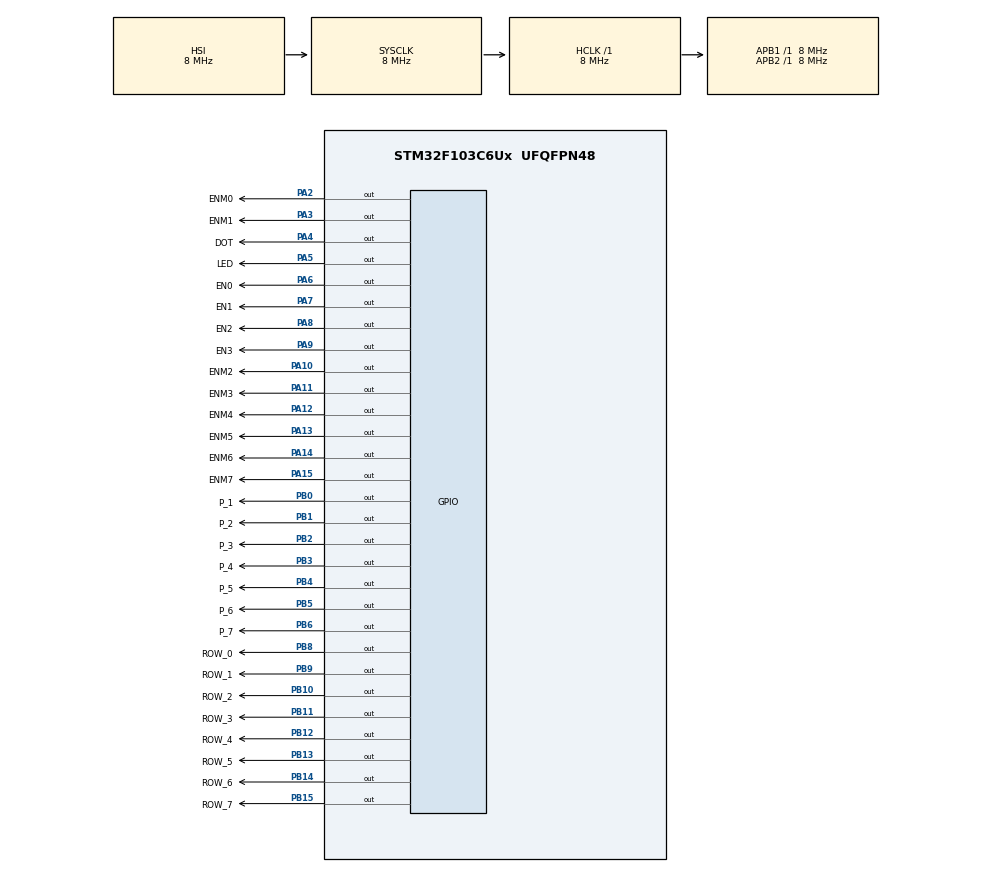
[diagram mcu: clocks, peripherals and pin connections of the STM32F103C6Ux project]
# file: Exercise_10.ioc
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Mcu.Family=STM32F1
Mcu.Name=STM32F103C6Ux
Mcu.Package=UFQFPN48
NVIC.PriorityGroup=NVIC_PRIORITYGROUP_4
NVIC.TIM2_IRQn=true\:0\:0\:false\:false\:true\:true\:true
PA10.GPIO_Label=ENM2
PA10.Signal=GPIO_Output
PA11.GPIO_Label=ENM3
PA11.Signal=GPIO_Output
PA12.GPIO_Label=ENM4
PA12.Signal=GPIO_Output
PA13.GPIO_Label=ENM5
PA13.Signal=GPIO_Output
PA14.GPIO_Label=ENM6
PA14.Signal=GPIO_Output
PA15.GPIO_Label=ENM7
PA15.Signal=GPIO_Output
PA2.GPIO_Label=ENM0
PA2.Signal=GPIO_Output
PA3.GPIO_Label=ENM1
PA3.Signal=GPIO_Output
PA4.GPIO_Label=DOT
PA4.Signal=GPIO_Output
PA5.GPIO_Label=LED
PA5.Signal=GPIO_Output
PA6.GPIO_Label=EN0
PA6.Signal=GPIO_Output
PA7.GPIO_Label=EN1
PA7.Signal=GPIO_Output
PA8.GPIO_Label=EN2
PA8.Signal=GPIO_Output
PA9.GPIO_Label=EN3
PA9.Signal=GPIO_Output
PB0.GPIO_Label=P_1
PB0.Signal=GPIO_Output
PB1.GPIO_Label=P_2
PB1.Signal=GPIO_Output
PB10.GPIO_Label=ROW_2
PB10.Signal=GPIO_Output
PB11.GPIO_Label=ROW_3
PB11.Signal=GPIO_Output
PB12.GPIO_Label=ROW_4
PB12.Signal=GPIO_Output
PB13.GPIO_Label=ROW_5
PB13.Signal=GPIO_Output
PB14.GPIO_Label=ROW_6
PB14.Signal=GPIO_Output
PB15.GPIO_Label=ROW_7
PB15.Signal=GPIO_Output
PB2.GPIO_Label=P_3
PB2.Signal=GPIO_Output
PB3.GPIO_Label=P_4
PB3.Signal=GPIO_Output
PB4.GPIO_Label=P_5
PB4.Signal=GPIO_Output
PB5.GPIO_Label=P_6
PB5.Signal=GPIO_Output
PB6.GPIO_Label=P_7
PB6.Signal=GPIO_Output
PB8.GPIO_Label=ROW_0
PB8.Signal=GPIO_Output
PB9.GPIO_Label=ROW_1
PB9.Signal=GPIO_Output
ProjectManager.HeapSize=0x200
ProjectManager.StackSize=0x400
ProjectManager.TargetToolchain=STM32CubeIDE
RCC.AHBFreq_Value=8000000
RCC.APB1Freq_Value=8000000
RCC.APB1TimFreq_Value=8000000
RCC.APB2Freq_Value=8000000
RCC.APB2TimFreq_Value=8000000
RCC.HCLKFreq_Value=8000000
RCC.SYSCLKFreq_VALUE=8000000
RCC.USBFreq_Value=8000000
TIM2.Period=9
TIM2.Prescaler=7999
VP_SYS_VS_ND.Mode=No_Debug
VP_TIM2_VS_ClockSourceINT.Mode=Internal
board=custom

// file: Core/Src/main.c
/* USER CODE BEGIN Header */
/**
  ******************************************************************************
  * @file           : main.c
  * @brief          : Main program body
  ******************************************************************************
  * @attention
  *
  * <h2><center>&copy; Copyright (c) 2022 STMicroelectronics.
  * All rights reserved.</center></h2>
  *
  * This software component is licensed by ST under BSD 3-Clause license,
  * the "License"; You may not use this file except in compliance with the
  * License. You may obtain a copy of the License at:
  *                        opensource.org/licenses/BSD-3-Clause
  *
  ******************************************************************************
  */
/* USER CODE END Header */
#include "main.h"

/* USER CODE BEGIN Includes */
#include "timer.h"
/* USER CODE END Includes */

TIM_HandleTypeDef htim2;

void SystemClock_Config(void);
static void MX_GPIO_Init(void);
static void MX_TIM2_Init(void);

/* USER CODE BEGIN 0 */
void display7SEG (int time)
{
	if(time==0)
	{
		HAL_GPIO_WritePin(P_1_GPIO_Port, P_1_Pin, RESET);
		HAL_GPIO_WritePin(P_2_GPIO_Port, P_2_Pin, RESET);
		HAL_GPIO_WritePin(P_3_GPIO_Port, P_3_Pin, RESET);
		HAL_GPIO_WritePin(P_4_GPIO_Port, P_4_Pin, RESET);
		HAL_GPIO_WritePin(P_5_GPIO_Port, P_5_Pin, RESET);
		HAL_GPIO_WritePin(P_6_GPIO_Port, P_6_Pin, RESET);
		HAL_GPIO_WritePin(P_7_GPIO_Port, P_7_Pin, SET);
	}
	else if(time==1)
	{
		HAL_GPIO_WritePin(P_1_GPIO_Port, P_1_Pin, SET);
		HAL_GPIO_WritePin(P_2_GPIO_Port, P_2_Pin, RESET);
		HAL_GPIO_WritePin(P_3_GPIO_Port, P_3_Pin, RESET);
		HAL_GPIO_WritePin(P_4_GPIO_Port, P_4_Pin, SET);
		HAL_GPIO_WritePin(P_5_GPIO_Port, P_5_Pin, SET);
		HAL_GPIO_WritePin(P_6_GPIO_Port, P_6_Pin, SET);
		HAL_GPIO_WritePin(P_7_GPIO_Port, P_7_Pin, SET);
	}
	else if(time==2)
	{
		HAL_GPIO_WritePin(P_1_GPIO_Port, P_1_Pin, RESET);
		HAL_GPIO_WritePin(P_2_GPIO_Port, P_2_Pin, RESET);
		HAL_GPIO_WritePin(P_3_GPIO_Port, P_3_Pin, SET);
		HAL_GPIO_WritePin(P_4_GPIO_Port, P_4_Pin, RESET);
		HAL_GPIO_WritePin(P_5_GPIO_Port, P_5_Pin, RESET);
		HAL_GPIO_WritePin(P_6_GPIO_Port, P_6_Pin, SET);
		HAL_GPIO_WritePin(P_7_GPIO_Port, P_7_Pin, RESET);
	}
	else if(time==3)
	{
		HAL_GPIO_WritePin(P_1_GPIO_Port, P_1_Pin, RESET);
		HAL_GPIO_WritePin(P_2_GPIO_Port, P_2_Pin, RESET);
		HAL_GPIO_WritePin(P_3_GPIO_Port, P_3_Pin, RESET);
		HAL_GPIO_WritePin(P_4_GPIO_Port, P_4_Pin, RESET);
		HAL_GPIO_WritePin(P_5_GPIO_Port, P_5_Pin, SET);
		HAL_GPIO_WritePin(P_6_GPIO_Port, P_6_Pin, SET);
		HAL_GPIO_WritePin(P_7_GPIO_Port, P_7_Pin, RESET);
	}
	else if(time==4)
	{
		HAL_GPIO_WritePin(P_1_GPIO_Port, P_1_Pin, SET);
		HAL_GPIO_WritePin(P_2_GPIO_Port, P_2_Pin, RESET);
		HAL_GPIO_WritePin(P_3_GPIO_Port, P_3_Pin, RESET);
		HAL_GPIO_WritePin(P_4_GPIO_Port, P_4_Pin, SET);
		HAL_GPIO_WritePin(P_5_GPIO_Port, P_5_Pin, SET);
		HAL_GPIO_WritePin(P_6_GPIO_Port, P_6_Pin, RESET);
		HAL_GPIO_WritePin(P_7_GPIO_Port, P_7_Pin, RESET);
	}
	else if(time==5)
	{
		HAL_GPIO_WritePin(P_1_GPIO_Port, P_1_Pin, RESET);
		HAL_GPIO_WritePin(P_2_GPIO_Port, P_2_Pin, SET);
		HAL_GPIO_WritePin(P_3_GPIO_Port, P_3_Pin, RESET);
		HAL_GPIO_WritePin(P_4_GPIO_Port, P_4_Pin, RESET);
		HAL_GPIO_WritePin(P_5_GPIO_Port, P_5_Pin, SET);
		HAL_GPIO_WritePin(P_6_GPIO_Port, P_6_Pin, RESET);
		HAL_GPIO_WritePin(P_7_GPIO_Port, P_7_Pin, RESET);
	}
	else if(time==6)
	{
		HAL_GPIO_WritePin(P_1_GPIO_Port, P_1_Pin, RESET);
		HAL_GPIO_WritePin(P_2_GPIO_Port, P_2_Pin, SET);
		HAL_GPIO_WritePin(P_3_GPIO_Port, P_3_Pin, RESET);
		HAL_GPIO_WritePin(P_4_GPIO_Port, P_4_Pin, RESET);
		HAL_GPIO_WritePin(P_5_GPIO_Port, P_5_Pin, RESET);
		HAL_GPIO_WritePin(P_6_GPIO_Port, P_6_Pin, RESET);
		HAL_GPIO_WritePin(P_7_GPIO_Port, P_7_Pin, RESET);
	}
	else if(time==7)
	{
		HAL_GPIO_WritePin(P_1_GPIO_Port, P_1_Pin, RESET);
		HAL_GPIO_WritePin(P_2_GPIO_Port, P_2_Pin, RESET);
		HAL_GPIO_WritePin(P_3_GPIO_Port, P_3_Pin, RESET);
		HAL_GPIO_WritePin(P_4_GPIO_Port, P_4_Pin, SET);
		HAL_GPIO_WritePin(P_5_GPIO_Port, P_5_Pin, SET);
		HAL_GPIO_WritePin(P_6_GPIO_Port, P_6_Pin, SET);
		HAL_GPIO_WritePin(P_7_GPIO_Port, P_7_Pin, SET);
	}
	else if(time==8)
	{
		HAL_GPIO_WritePin(P_1_GPIO_Port, P_1_Pin, RESET);
		HAL_GPIO_WritePin(P_2_GPIO_Port, P_2_Pin, RESET);
		HAL_GPIO_WritePin(P_3_GPIO_Port, P_3_Pin, RESET);
		HAL_GPIO_WritePin(P_4_GPIO_Port, P_4_Pin, RESET);
		HAL_GPIO_WritePin(P_5_GPIO_Port, P_5_Pin, RESET);
		HAL_GPIO_WritePin(P_6_GPIO_Port, P_6_Pin, RESET);
		HAL_GPIO_WritePin(P_7_GPIO_Port, P_7_Pin, RESET);
	}
	else if(time==9)
	{
		HAL_GPIO_WritePin(P_1_GPIO_Port, P_1_Pin, RESET);
		HAL_GPIO_WritePin(P_2_GPIO_Port, P_2_Pin, RESET);
		HAL_GPIO_WritePin(P_3_GPIO_Port, P_3_Pin, RESET);
		HAL_GPIO_WritePin(P_4_GPIO_Port, P_4_Pin, RESET);
		HAL_GPIO_WritePin(P_5_GPIO_Port, P_5_Pin, SET);
		HAL_GPIO_WritePin(P_6_GPIO_Port, P_6_Pin, RESET);
		HAL_GPIO_WritePin(P_7_GPIO_Port, P_7_Pin, RESET);
	}
}
const int MAX_LED = 4;
int led_buffer [4];
void update7SEG (int index) {
	switch (index)	{
	case 0:
		HAL_GPIO_WritePin(EN0_GPIO_Port, EN0_Pin, RESET);
		HAL_GPIO_WritePin(EN1_GPIO_Port, EN1_Pin, SET);
		HAL_GPIO_WritePin(EN2_GPIO_Port, EN2_Pin, SET);
		HAL_GPIO_WritePin(EN3_GPIO_Port, EN3_Pin, SET);
		display7SEG(led_buffer[0]);
		break;
	case 1:
		HAL_GPIO_WritePin(EN0_GPIO_Port, EN0_Pin, SET);
		HAL_GPIO_WritePin(EN1_GPIO_Port, EN1_Pin, RESET);
		HAL_GPIO_WritePin(EN2_GPIO_Port, EN2_Pin, SET);
		HAL_GPIO_WritePin(EN3_GPIO_Port, EN3_Pin, SET);
		display7SEG(led_buffer[1]);
		break;
	case 2:
		HAL_GPIO_WritePin(EN0_GPIO_Port, EN0_Pin, SET);
		HAL_GPIO_WritePin(EN1_GPIO_Port, EN1_Pin, SET);
		HAL_GPIO_WritePin(EN2_GPIO_Port, EN2_Pin, RESET);
		HAL_GPIO_WritePin(EN3_GPIO_Port, EN3_Pin, SET);
		display7SEG(led_buffer[2]);
		break;
	case 3:
		HAL_GPIO_WritePin(EN0_GPIO_Port, EN0_Pin, SET);
		HAL_GPIO_WritePin(EN1_GPIO_Port, EN1_Pin, SET);
		HAL_GPIO_WritePin(EN2_GPIO_Port, EN2_Pin, SET);
		HAL_GPIO_WritePin(EN3_GPIO_Port, EN3_Pin, RESET);
		display7SEG(led_buffer[3]);
		break;
	default:
		break;
	}
 }
const int MAX_LED_MATRIX = 8;
int index_led_matrix = 0;
uint8_t matrix_buffer [8] = {0x18,0x3C,0x66,0x66,0x7E,0x7E,0x66,0x66};
void shiftled()
{
	for(int i=0;i<8;i++)
	{
	int check_out=matrix_buffer[i]>>7;
	if(check_out==1)
	{
		matrix_buffer[i]=matrix_buffer[i]<<1;
		matrix_buffer[i]=matrix_buffer[i]|0x01;
	}
	else
	{
		matrix_buffer[i]=matrix_buffer[i]<<1;
	}
	}
}
void updateclockbuffer(int min,int hrs)
{
	if(min<10)
	{
		led_buffer[2]=0;
		led_buffer[3]=min;
	}
	else if(min>=10)
	{
		led_buffer[2]=min/10;
		led_buffer[3]=min%10;
	}
	if(hrs<10)
	{
		led_buffer[0]=0;
		led_buffer[1]=hrs;
	}
	else if(hrs>=10)
	{
		led_buffer[0]=hrs/10;
		led_buffer[1]=hrs%10;
	}
}
void drawled(uint8_t row)
{	uint8_t test=row;
	for(int i=0;i<8;i++)
	{	uint8_t check=test>>7;
		switch(i)
		{

		case 0:
			if(check==1)
			{
				HAL_GPIO_WritePin(ENM0_GPIO_Port, ENM0_Pin, 0);
			}
			else
				HAL_GPIO_WritePin(ENM0_GPIO_Port, ENM0_Pin, 1);
			break;
		case 1:
			if(check==1)
			{
				HAL_GPIO_WritePin(ENM1_GPIO_Port, ENM1_Pin, 0);
			}
			else
				HAL_GPIO_WritePin(ENM1_GPIO_Port, ENM1_Pin, 1);
			break;
		case 2:
			if(check==1)
			{
				HAL_GPIO_WritePin(ENM2_GPIO_Port, ENM2_Pin, 0);
			}
			else
				HAL_GPIO_WritePin(ENM2_GPIO_Port, ENM2_Pin, 1);
			break;
		case 3:
			if(check==1)
			{
				HAL_GPIO_WritePin(ENM3_GPIO_Port, ENM3_Pin, 0);
			}
			else
				HAL_GPIO_WritePin(ENM3_GPIO_Port, ENM3_Pin, 1);
			break;
		case 4:
			if(check==1)
			{
				HAL_GPIO_WritePin(ENM4_GPIO_Port, ENM4_Pin, 0);
			}
			else
				HAL_GPIO_WritePin(ENM4_GPIO_Port, ENM4_Pin, 1);
			break;
		case 5:
			if(check==1)
			{
				HAL_GPIO_WritePin(ENM5_GPIO_Port, ENM5_Pin, 0);
			}
			else
				HAL_GPIO_WritePin(ENM5_GPIO_Port, ENM5_Pin, 1);
			break;
		case 6:
			if(check==1)
			{
				HAL_GPIO_WritePin(ENM6_GPIO_Port, ENM6_Pin, 0);
			}
			else
				HAL_GPIO_WritePin(ENM6_GPIO_Port, ENM6_Pin, 1);
			break;
		case 7:
			if(check==1)
			{
				HAL_GPIO_WritePin(ENM7_GPIO_Port, ENM7_Pin, 0);
			}
			else
				HAL_GPIO_WritePin(ENM7_GPIO_Port, ENM7_Pin, 1);
			break;
		}
		test=test<<1;
	}
}

void updateLedMatrix(int index)
{
	switch(index)
	{
	case 0:
		HAL_GPIO_WritePin(ROW_0_GPIO_Port, ROW_0_Pin, 0);
		HAL_GPIO_WritePin(ROW_1_GPIO_Port, ROW_1_Pin, 1);
		HAL_GPIO_WritePin(ROW_2_GPIO_Port, ROW_2_Pin, 1);
		HAL_GPIO_WritePin(ROW_3_GPIO_Port, ROW_3_Pin, 1);
		HAL_GPIO_WritePin(ROW_4_GPIO_Port, ROW_4_Pin, 1);
		HAL_GPIO_WritePin(ROW_5_GPIO_Port, ROW_5_Pin, 1);
		HAL_GPIO_WritePin(ROW_6_GPIO_Port, ROW_6_Pin, 1);
		HAL_GPIO_WritePin(ROW_7_GPIO_Port, ROW_7_Pin, 1);
		drawled(matrix_buffer[index]);
		break;
	case 1:
		HAL_GPIO_WritePin(ROW_0_GPIO_Port, ROW_0_Pin, 1);
		HAL_GPIO_WritePin(ROW_1_GPIO_Port, ROW_1_Pin, 0);
		HAL_GPIO_WritePin(ROW_2_GPIO_Port, ROW_2_Pin, 1);
		HAL_GPIO_WritePin(ROW_3_GPIO_Port, ROW_3_Pin, 1);
		HAL_GPIO_WritePin(ROW_4_GPIO_Port, ROW_4_Pin, 1);
		HAL_GPIO_WritePin(ROW_5_GPIO_Port, ROW_5_Pin, 1);
		HAL_GPIO_WritePin(ROW_6_GPIO_Port, ROW_6_Pin, 1);
		HAL_GPIO_WritePin(ROW_7_GPIO_Port, ROW_7_Pin, 1);
		drawled(matrix_buffer[index]);
		break;
	case 2:
		HAL_GPIO_WritePin(ROW_0_GPIO_Port, ROW_0_Pin, 1);
		HAL_GPIO_WritePin(ROW_1_GPIO_Port, ROW_1_Pin, 1);
		HAL_GPIO_WritePin(ROW_2_GPIO_Port, ROW_2_Pin, 0);
		HAL_GPIO_WritePin(ROW_3_GPIO_Port, ROW_3_Pin, 1);
		HAL_GPIO_WritePin(ROW_4_GPIO_Port, ROW_4_Pin, 1);
		HAL_GPIO_WritePin(ROW_5_GPIO_Port, ROW_5_Pin, 1);
		HAL_GPIO_WritePin(ROW_6_GPIO_Port, ROW_6_Pin, 1);
		HAL_GPIO_WritePin(ROW_7_GPIO_Port, ROW_7_Pin, 1);
		drawled(matrix_buffer[index]);
		break;
	case 3:
		HAL_GPIO_WritePin(ROW_0_GPIO_Port, ROW_0_Pin, 1);
		HAL_GPIO_WritePin(ROW_1_GPIO_Port, ROW_1_Pin, 1);
		HAL_GPIO_WritePin(ROW_2_GPIO_Port, ROW_2_Pin, 1);
		HAL_GPIO_WritePin(ROW_3_GPIO_Port, ROW_3_Pin, 0);
		HAL_GPIO_WritePin(ROW_4_GPIO_Port, ROW_4_Pin, 1);
		HAL_GPIO_WritePin(ROW_5_GPIO_Port, ROW_5_Pin, 1);
		HAL_GPIO_WritePin(ROW_6_GPIO_Port, ROW_6_Pin, 1);
		HAL_GPIO_WritePin(ROW_7_GPIO_Port, ROW_7_Pin, 1);
		drawled(matrix_buffer[index]);
		break;
	case 4:
		HAL_GPIO_WritePin(ROW_0_GPIO_Port, ROW_0_Pin, 1);
		HAL_GPIO_WritePin(ROW_1_GPIO_Port, ROW_1_Pin, 1);
		HAL_GPIO_WritePin(ROW_2_GPIO_Port, ROW_2_Pin, 1);
		HAL_GPIO_WritePin(ROW_3_GPIO_Port, ROW_3_Pin, 1);
		HAL_GPIO_WritePin(ROW_4_GPIO_Port, ROW_4_Pin, 0);
		HAL_GPIO_WritePin(ROW_5_GPIO_Port, ROW_5_Pin, 1);
		HAL_GPIO_WritePin(ROW_6_GPIO_Port, ROW_6_Pin, 1);
		HAL_GPIO_WritePin(ROW_7_GPIO_Port, ROW_7_Pin, 1);
		drawled(matrix_buffer[index]);
		break;
	case 5:
		HAL_GPIO_WritePin(ROW_0_GPIO_Port, ROW_0_Pin, 1);
		HAL_GPIO_WritePin(ROW_1_GPIO_Port, ROW_1_Pin, 1);
		HAL_GPIO_WritePin(ROW_2_GPIO_Port, ROW_2_Pin, 1);
		HAL_GPIO_WritePin(ROW_3_GPIO_Port, ROW_3_Pin, 1);
		HAL_GPIO_WritePin(ROW_4_GPIO_Port, ROW_4_Pin, 1);
		HAL_GPIO_WritePin(ROW_5_GPIO_Port, ROW_5_Pin, 0);
		HAL_GPIO_WritePin(ROW_6_GPIO_Port, ROW_6_Pin, 1);
		HAL_GPIO_WritePin(ROW_7_GPIO_Port, ROW_7_Pin, 1);
		drawled(matrix_buffer[index]);
		break;
	case 6:
		HAL_GPIO_WritePin(ROW_0_GPIO_Port, ROW_0_Pin, 1);
		HAL_GPIO_WritePin(ROW_1_GPIO_Port, ROW_1_Pin, 1);
		HAL_GPIO_WritePin(ROW_2_GPIO_Port, ROW_2_Pin, 1);
		HAL_GPIO_WritePin(ROW_3_GPIO_Port, ROW_3_Pin, 1);
		HAL_GPIO_WritePin(ROW_4_GPIO_Port, ROW_4_Pin, 1);
		HAL_GPIO_WritePin(ROW_5_GPIO_Port, ROW_5_Pin, 1);
		HAL_GPIO_WritePin(ROW_6_GPIO_Port, ROW_6_Pin, 0);
		HAL_GPIO_WritePin(ROW_7_GPIO_Port, ROW_7_Pin, 1);
		drawled(matrix_buffer[index]);
		break;
	case 7:
		HAL_GPIO_WritePin(ROW_0_GPIO_Port, ROW_0_Pin, 1);
		HAL_GPIO_WritePin(ROW_1_GPIO_Port, ROW_1_Pin, 1);
		HAL_GPIO_WritePin(ROW_2_GPIO_Port, ROW_2_Pin, 1);
		HAL_GPIO_WritePin(ROW_3_GPIO_Port, ROW_3_Pin, 1);
		HAL_GPIO_WritePin(ROW_4_GPIO_Port, ROW_4_Pin, 1);
		HAL_GPIO_WritePin(ROW_5_GPIO_Port, ROW_5_Pin, 1);
		HAL_GPIO_WritePin(ROW_6_GPIO_Port, ROW_6_Pin, 1);
		HAL_GPIO_WritePin(ROW_7_GPIO_Port, ROW_7_Pin, 0);
		drawled(matrix_buffer[index]);
		break;
	}

}
/* USER CODE END 0 */

int main(void)
{

  /* MCU Configuration--------------------------------------------------------*/

  /* Reset of all peripherals, Initializes the Flash interface and the Systick. */
  HAL_Init();

  /* Configure the system clock */
  SystemClock_Config();

  /* Initialize all configured peripherals */
  MX_GPIO_Init();
  MX_TIM2_Init();
  /* USER CODE BEGIN 2 */
  HAL_TIM_Base_Start_IT (& htim2 ) ;
  /* USER CODE END 2 */

  /* Infinite loop */
  /* USER CODE BEGIN WHILE */
  int hour=9, minute=59, second=50;
    updateclockbuffer(minute, hour);
    setTimer1(1000);
    setTimer2(500);
    setTimer3(250);
    setTimer4(10);
    int led_time=1000;
    int dot_time=500;
    int seg_time=250;
    int index_led = 0;
    int matrix_time=10;
    int start=0;
    while (1)
    {
  	  if(timer1_flag==1)
  	  {
  		  setTimer1(led_time);
  		  HAL_GPIO_TogglePin(LED_GPIO_Port, LED_Pin);
  		  second ++;
  		  if ( second >= 60) {
  		  second = 0;
  		  minute ++;
  		  }
  		  if( minute >= 60) {
  		  minute = 0;
  		  hour ++;
  		  }
  		  if( hour >=24) {
  		  hour = 0;
  		  }
  		  updateclockbuffer(minute, hour);
  	  }
  	  if(timer2_flag==1)
  	  {
  		  setTimer2(dot_time);
  		  HAL_GPIO_TogglePin(DOT_GPIO_Port,DOT_Pin);
  	  }
  	  if(timer3_flag==1)
  	  {
  		  setTimer3(seg_time);
  		  update7SEG(index_led++);
  		  if(index_led>3)
  		  {
  			  index_led=0;
  		  }
  	  }

  		 if(timer4_flag==1)
  		 {
  			setTimer4(matrix_time);
  			updateLedMatrix(start++);
  			 if(start>7)
  			 {
  				 start=0;
  				 shiftled();
  			 }

  		 }

    /* USER CODE END WHILE */

  }
}

void SystemClock_Config(void)
{
  RCC_OscInitTypeDef RCC_OscInitStruct = {0};
  RCC_ClkInitTypeDef RCC_ClkInitStruct = {0};

  /** Initializes the RCC Oscillators according to the specified parameters
  * in the RCC_OscInitTypeDef structure.
  */
  RCC_OscInitStruct.OscillatorType = RCC_OSCILLATORTYPE_HSI;
  RCC_OscInitStruct.HSIState = RCC_HSI_ON;
  RCC_OscInitStruct.HSICalibrationValue = RCC_HSICALIBRATION_DEFAULT;
  RCC_OscInitStruct.PLL.PLLState = RCC_PLL_NONE;
  if (HAL_RCC_OscConfig(&RCC_OscInitStruct) != HAL_OK)
  {
    Error_Handler();
  }
  /** Initializes the CPU, AHB and APB buses clocks
  */
  RCC_ClkInitStruct.ClockType = RCC_CLOCKTYPE_HCLK|RCC_CLOCKTYPE_SYSCLK
                              |RCC_CLOCKTYPE_PCLK1|RCC_CLOCKTYPE_PCLK2;
  RCC_ClkInitStruct.SYSCLKSource = RCC_SYSCLKSOURCE_HSI;
  RCC_ClkInitStruct.AHBCLKDivider = RCC_SYSCLK_DIV1;
  RCC_ClkInitStruct.APB1CLKDivider = RCC_HCLK_DIV1;
  RCC_ClkInitStruct.APB2CLKDivider = RCC_HCLK_DIV1;

  if (HAL_RCC_ClockConfig(&RCC_ClkInitStruct, FLASH_LATENCY_0) != HAL_OK)
  {
    Error_Handler();
  }
}

static void MX_TIM2_Init(void)
{

  TIM_ClockConfigTypeDef sClockSourceConfig = {0};
  TIM_MasterConfigTypeDef sMasterConfig = {0};

  htim2.Instance = TIM2;
  htim2.Init.Prescaler = 7999;
  htim2.Init.CounterMode = TIM_COUNTERMODE_UP;
  htim2.Init.Period = 9;
  htim2.Init.ClockDivision = TIM_CLOCKDIVISION_DIV1;
  htim2.Init.AutoReloadPreload = TIM_AUTORELOAD_PRELOAD_DISABLE;
  if (HAL_TIM_Base_Init(&htim2) != HAL_OK)
  {
    Error_Handler();
  }
  sClockSourceConfig.ClockSource = TIM_CLOCKSOURCE_INTERNAL;
  if (HAL_TIM_ConfigClockSource(&htim2, &sClockSourceConfig) != HAL_OK)
  {
    Error_Handler();
  }
  sMasterConfig.MasterOutputTrigger = TIM_TRGO_RESET;
  sMasterConfig.MasterSlaveMode = TIM_MASTERSLAVEMODE_DISABLE;
  if (HAL_TIMEx_MasterConfigSynchronization(&htim2, &sMasterConfig) != HAL_OK)
  {
    Error_Handler();
  }

}

static void MX_GPIO_Init(void)
{
  GPIO_InitTypeDef GPIO_InitStruct = {0};

  /* GPIO Ports Clock Enable */
  __HAL_RCC_GPIOA_CLK_ENABLE();
  __HAL_RCC_GPIOB_CLK_ENABLE();

  /*Configure GPIO pin Output Level */
  HAL_GPIO_WritePin(GPIOA, ENM0_Pin|ENM1_Pin|DOT_Pin|LED_Pin
                          |EN0_Pin|EN1_Pin|EN2_Pin|EN3_Pin
                          |ENM2_Pin|ENM3_Pin|ENM4_Pin|ENM5_Pin
                          |ENM6_Pin|ENM7_Pin, GPIO_PIN_RESET);

  /*Configure GPIO pin Output Level */
  HAL_GPIO_WritePin(GPIOB, P_1_Pin|P_2_Pin|P_3_Pin|ROW_2_Pin
                          |ROW_3_Pin|ROW_4_Pin|ROW_5_Pin|ROW_6_Pin
                          |ROW_7_Pin|P_4_Pin|P_5_Pin|P_6_Pin
                          |P_7_Pin|ROW_0_Pin|ROW_1_Pin, GPIO_PIN_RESET);

  /*Configure GPIO pins : ENM0_Pin ENM1_Pin DOT_Pin LED_Pin
                           EN0_Pin EN1_Pin EN2_Pin EN3_Pin
                           ENM2_Pin ENM3_Pin ENM4_Pin ENM5_Pin
                           ENM6_Pin ENM7_Pin */
  GPIO_InitStruct.Pin = ENM0_Pin|ENM1_Pin|DOT_Pin|LED_Pin
                          |EN0_Pin|EN1_Pin|EN2_Pin|EN3_Pin
                          |ENM2_Pin|ENM3_Pin|ENM4_Pin|ENM5_Pin
                          |ENM6_Pin|ENM7_Pin;
  GPIO_InitStruct.Mode = GPIO_MODE_OUTPUT_PP;
  GPIO_InitStruct.Pull = GPIO_NOPULL;
  GPIO_InitStruct.Speed = GPIO_SPEED_FREQ_LOW;
  HAL_GPIO_Init(GPIOA, &GPIO_InitStruct);

  /*Configure GPIO pins : P_1_Pin P_2_Pin P_3_Pin ROW_2_Pin
                           ROW_3_Pin ROW_4_Pin ROW_5_Pin ROW_6_Pin
                           ROW_7_Pin P_4_Pin P_5_Pin P_6_Pin
                           P_7_Pin ROW_0_Pin ROW_1_Pin */
  GPIO_InitStruct.Pin = P_1_Pin|P_2_Pin|P_3_Pin|ROW_2_Pin
                          |ROW_3_Pin|ROW_4_Pin|ROW_5_Pin|ROW_6_Pin
                          |ROW_7_Pin|P_4_Pin|P_5_Pin|P_6_Pin
                          |P_7_Pin|ROW_0_Pin|ROW_1_Pin;
  GPIO_InitStruct.Mode = GPIO_MODE_OUTPUT_PP;
  GPIO_InitStruct.Pull = GPIO_NOPULL;
  GPIO_InitStruct.Speed = GPIO_SPEED_FREQ_LOW;
  HAL_GPIO_Init(GPIOB, &GPIO_InitStruct);

}

/* USER CODE BEGIN 4 */
void HAL_TIM_PeriodElapsedCallback ( TIM_HandleTypeDef * htim )
{
	timerRun();
}
/* USER CODE END 4 */

void Error_Handler(void)
{
  __disable_irq();
  while (1)
  {
  }
}

/************************ (C) COPYRIGHT STMicroelectronics *****END OF FILE****/
